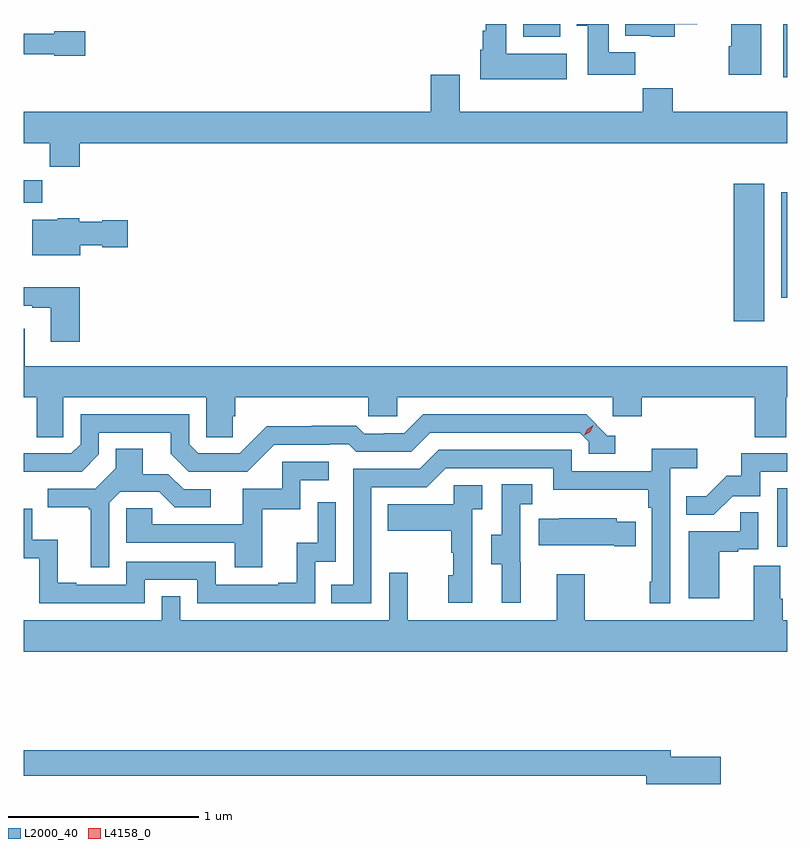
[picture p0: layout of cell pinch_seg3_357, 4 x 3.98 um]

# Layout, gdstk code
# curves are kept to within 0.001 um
import gdstk
lib = gdstk.Library(unit=1e-6, precision=1e-09)
def R(c, l, rs):  # rectangles x0, y0, x1, y1
    for r in rs: c.add(gdstk.rectangle(r[:2], r[2:], *l))
def P(c, l, *ps):  # polygons
    for p in ps: c.add(gdstk.Polygon(p, *l))
L2000_40 = (2000, 40)
L4158_0 = (4158, 0)

pinch_seg3_357 = lib.new_cell('pinch_seg3_357')
R(pinch_seg3_357, L2000_40, [(988.094,705.462,988.147,705.769), (987.866,706.644,988.027,707.365), (988.116,706.767,988.147,707.318), (984.147,707.264,984.242,707.382), (988.128,707.922,988.147,708.201), (986.763,708.134,986.959,708.201), (986.3,708.2,986.479,708.201)])
P(pinch_seg3_357, L2000_40, [(986.992,708.046),(986.674,708.046),(986.674,708.201),(986.567,708.201),(986.567,708.166),(986.552,708.166),(986.552,708.066),(986.54,708.066),(986.54,707.912),(986.992,707.912)],
  [(987.35,708.052),(987.211,708.052),(987.211,708.201),(987.044,708.201),(987.044,708.193),(987.101,708.193),(987.101,707.934),(987.35,707.934)],
  [(987.558,708.199),(987.675,708.199),(987.675,708.201),(987.299,708.201),(987.299,708.14),(987.432,708.14),(987.432,708.134),(987.558,708.134)],
  [(988.012,708.201),(987.854,708.201),(987.854,708.084),(987.842,708.084),(987.842,707.934),(988.012,707.934)],
  [(984.469,708.163),(984.306,708.163),(984.306,708.15),(984.147,708.15),(984.147,708.042),(984.306,708.042),(984.306,708.034),(984.469,708.034)],
  [(984.44,707.576),(988.147,707.576),(988.147,707.74),(987.548,707.74),(987.548,707.864),(987.391,707.864),(987.391,707.74),(986.431,707.74),(986.431,707.935),(986.279,707.935),(986.279,707.74),(984.147,707.74),(984.147,707.576),(984.283,707.576),(984.283,707.452),(984.44,707.452)],
  [(984.442,707.042),(984.558,707.042),(984.558,707.03),(984.691,707.03),(984.691,707.172),(984.558,707.172),(984.558,707.164),(984.438,707.164),(984.438,707.182),(984.324,707.182),(984.324,707.176),(984.191,707.176),(984.191,706.988),(984.442,706.988)],
  [(984.44,706.822),(984.147,706.822),(984.147,706.725),(984.191,706.725),(984.191,706.713),(984.287,706.713),(984.287,706.536),(984.44,706.536)],
  [(984.354,706.244),(985.104,706.244),(985.104,706.036),(985.241,706.036),(985.241,706.146),(985.256,706.146),(985.256,706.244),(985.953,706.244),(985.953,706.146),(986.103,706.146),(986.103,706.244),(987.234,706.244),(987.234,706.146),(987.386,706.146),(987.386,706.244),(987.977,706.244),(987.977,706.036),(988.142,706.036),(988.142,706.244),(988.147,706.244),(988.147,706.408),(984.151,706.408),(984.151,706.603),(984.147,706.603),(984.147,706.244),(984.215,706.244),(984.215,706.036),(984.354,706.036)],
  [(984.234,705.855),(984.45,705.855),(984.54,705.945),(984.54,706.059),(984.917,706.059),(984.917,705.949),(985.011,705.855),(985.317,705.855),(985.458,705.996),(985.751,705.996),(985.751,705.999),(985.85,705.999),(985.889,705.96),(986.178,705.96),(986.277,706.059),(987.06,706.059),(987.108,706.011),(987.108,705.948),(987.247,705.948),(987.247,706.044),(987.204,706.044),(987.093,706.155),(986.24,706.155),(986.141,706.056),(986.034,706.056),(986.034,706.053),(985.931,706.053),(985.889,706.096),(985.656,706.096),(985.656,706.093),(985.42,706.093),(985.278,705.951),(985.062,705.951),(985.014,705.999),(985.014,706.155),(984.444,706.155),(984.444,705.999),(984.396,705.951),(984.147,705.951),(984.147,705.854)],
  [(985.968,705.774),(986.259,705.774),(986.358,705.873),(986.922,705.873),(986.922,705.761),(987.418,705.761),(987.418,705.665),(987.438,705.665),(987.438,705.277),(987.426,705.277),(987.426,705.165),(987.534,705.165),(987.534,705.872),(987.676,705.872),(987.676,705.974),(987.437,705.974),(987.437,705.858),(987.018,705.858),(987.018,705.969),(986.321,705.969),(986.222,705.87),(985.872,705.87),(985.872,705.261),(985.759,705.261),(985.759,705.165),(985.968,705.165)],
  [(984.594,705.693),(984.651,705.75),(984.857,705.75),(984.938,705.669),(985.126,705.669),(985.126,705.762),(984.984,705.762),(984.904,705.842),(984.769,705.842),(984.769,705.974),(984.629,705.974),(984.629,705.872),(984.522,705.765),(984.273,705.765),(984.273,705.668),(984.486,705.668),(984.486,705.657),(984.497,705.657),(984.497,705.354),(984.594,705.354)],
  [(987.861,705.726),(988.005,705.726),(988.005,705.855),(988.147,705.855),(988.147,705.951),(987.907,705.951),(987.907,705.834),(987.83,705.834),(987.723,705.727),(987.619,705.727),(987.619,705.628),(987.763,705.628)],
  [(985.397,705.657),(985.596,705.657),(985.596,705.81),(985.744,705.81),(985.744,705.906),(985.5,705.906),(985.5,705.765),(985.295,705.765),(985.295,705.579),(984.821,705.579),(984.821,705.663),(984.684,705.663),(984.684,705.483),(985.253,705.483),(985.253,705.354),(985.397,705.354)],
  [(986.75,705.381),(986.748,705.381),(986.748,705.685),(986.812,705.685),(986.812,705.788),(986.652,705.788),(986.652,705.525),(986.597,705.525),(986.597,705.37),(986.651,705.37),(986.651,705.168),(986.75,705.168)],
  [(986.496,705.659),(986.548,705.659),(986.548,705.783),(986.4,705.783),(986.4,705.685),(986.053,705.685),(986.053,705.545),(986.388,705.545),(986.388,705.431),(986.398,705.431),(986.398,705.312),(986.372,705.312),(986.372,705.168),(986.496,705.168)],
  [(984.78,705.288),(985.056,705.288),(985.056,705.165),(985.674,705.165),(985.674,705.384),(985.782,705.384),(985.782,705.694),(985.686,705.694),(985.686,705.482),(985.577,705.482),(985.577,705.274),(985.481,705.274),(985.481,705.261),(985.152,705.261),(985.152,705.384),(984.684,705.384),(984.684,705.261),(984.421,705.261),(984.421,705.274),(984.325,705.274),(984.325,705.499),(984.192,705.499),(984.192,705.66),(984.147,705.66),(984.147,705.401),(984.228,705.401),(984.228,705.165),(984.78,705.165)],
  [(987.79,705.435),(987.89,705.435),(987.89,705.447),(987.996,705.447),(987.996,705.641),(987.901,705.641),(987.901,705.543),(987.632,705.543),(987.632,705.192),(987.79,705.192)],
  [(987.353,705.592),(987.255,705.592),(987.255,705.61),(986.953,705.61),(986.953,705.607),(986.845,705.607),(986.845,705.47),(987.242,705.47),(987.242,705.463),(987.353,705.463)],
  [(988.147,705.076),(988.124,705.076),(988.124,705.188),(988.111,705.188),(988.111,705.362),(987.971,705.362),(987.971,705.076),(987.087,705.076),(987.087,705.316),(986.939,705.316),(986.939,705.076),(986.159,705.076),(986.159,705.325),(986.061,705.325),(986.061,705.076),(984.966,705.076),(984.966,705.203),(984.87,705.203),(984.87,705.076),(984.147,705.076),(984.147,704.912),(988.147,704.912)],
  [(987.799,704.36),(987.538,704.36),(987.538,704.396),(984.147,704.396),(984.147,704.26),(987.41,704.26),(987.41,704.218),(987.799,704.218)])
P(pinch_seg3_357, L4158_0, [(987.083,706.046),(987.083,706.046),(987.099,706.078),(987.13,706.098),(987.13,706.098),(987.13,706.097),(987.114,706.065),(987.084,706.046)])

lib.write_gds('pinch_seg3_357.gds')
